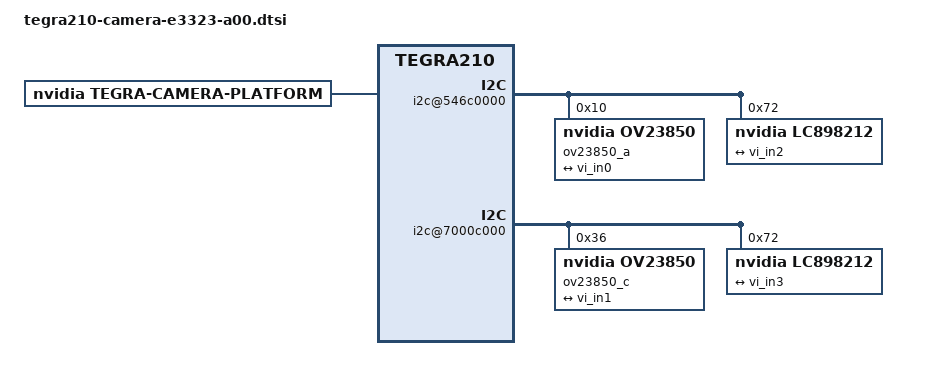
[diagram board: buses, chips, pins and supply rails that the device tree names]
/*
 * Copyright (c) 2015-2016, NVIDIA CORPORATION.  All rights reserved.
 *
 * This program is free software; you can redistribute it and/or modify
 * it under the terms of the GNU General Public License as published by
 * the Free Software Foundation; either version 2 of the License, or
 * (at your option) any later version.
 *
 * This program is distributed in the hope that it will be useful, but WITHOUT
 * ANY WARRANTY; without even the implied warranty of MERCHANTABILITY or
 * FITNESS FOR A PARTICULAR PURPOSE.  See the GNU General Public License for
 * more details.
 *
 * You should have received a copy of the GNU General Public License
 * along with this program.  If not, see <http://www.gnu.org/licenses/>.
 */

#include <dt-bindings/media/camera.h>
#include <dt-bindings/platform/t210/t210.h>

/ {
	host1x {
		vi {
			num-channels = <4>;
			ports {
				#address-cells = <1>;
				#size-cells = <0>;
				port@0 {
					reg = <0>;
					vi_in0: endpoint {
						remote-endpoint = <&ov23850_out0>;
					};
				};
				port@1 {
					reg = <1>;
					vi_in1: endpoint {
						remote-endpoint = <&ov23850_out1>;
					};
				};
				port@2 {
					reg = <2>;
					vi_in2: endpoint {
						remote-endpoint = <&lc898212_out0>;
					};
				};
				port@3 {
					reg = <3>;
					vi_in3: endpoint {
						remote-endpoint = <&lc898212_out1>;
					};
				};
			};
		};

		i2c@546c0000 {
			ov23850_a@10 {
				compatible = "nvidia,ov23850";

				reg = <0x10>;
				/* Physical dimensions of sensor */
				physical_w = "7.3998";
				physical_h = "5.5998";

				/* Define any required hw resources needed by driver */
				/* ie. clocks, io pins, power sources */
				avdd-reg = "vana";
				dvdd-reg = "vdig";
				iovdd-reg = "vif";
				vcmvdd-reg = "vvcm";
				devnode = "video0";

				/**
				* A modeX node is required to support v4l2 driver
				* implementation with NVIDIA camera software stack
				*
				* mclk_khz = "";
				* Standard MIPI driving clock, typically 24MHz
				*
				* num_lanes = "";
				* Number of lane channels sensor is programmed to output
				*
				* tegra_sinterface = "";
				* The base tegra serial interface lanes are connected to
				*
				* discontinuous_clk = "";
				* The sensor is programmed to use a discontinuous clock on MIPI lanes
				*
				* dpcm_enable = "true";
				* The sensor is programmed to use a DPCM modes
				*
				* cil_settletime = "";
				* MIPI lane settle time value.
				* A "0" value attempts to autocalibrate based on mclk_multiplier
				*
				*
				*
				*
				* active_w = "";
				* Pixel active region width
				*
				* active_h = "";
				* Pixel active region height
				*
				* pixel_t = "";
				* The sensor readout pixel pattern
				*
				* readout_orientation = "0";
				* Based on camera module orientation.
				* Only change readout_orientation if you specifically
				* Program a different readout order for this mode
				*
				* line_length = "";
				* Pixel line length (width) for sensor mode.
				* This is used to calibrate features in our camera stack.
				*
				* mclk_multiplier = "";
				* Multiplier to MCLK to help time hardware capture sequence
				* TODO: Assign to PLL_Multiplier as well until fixed in core
				*
				* pix_clk_hz = "";
				* Sensor pixel clock used for calculations like exposure and framerate
				*
				*
				*
				*
				* inherent_gain = "";
				* Gain obtained inherently from mode (ie. pixel binning)
				*
				* min_gain_val = ""; (floor to 6 decimal places)
				* max_gain_val = ""; (floor to 6 decimal places)
				* Gain limits for mode
				*
				* min_exp_time = ""; (ceil to integer)
				* max_exp_time = ""; (ceil to integer)
				* Exposure Time limits for mode (us)
				*
				*
				* min_hdr_ratio = "";
				* max_hdr_ratio = "";
				* HDR Ratio limits for mode
				*
				* min_framerate = "";
				* max_framerate = "";
				* Framerate limits for mode (fps)
				*
				*/

				mode0 { // OV23850_MODE_5632X4224
					mclk_khz = "24000";
					num_lanes = "4";
					tegra_sinterface = "serial_a";
					discontinuous_clk = "no";
					dpcm_enable = "false";
					cil_settletime = "0";

					active_w = "5632";
					active_h = "4224";
					pixel_t = "bayer_bggr";
					readout_orientation = "270";
					line_length = "7200";
					inherent_gain = "1";
					mclk_multiplier = "31.25";
					pix_clk_hz = "750000000";

					min_gain_val = "1.0";
					max_gain_val = "15.5";
					min_hdr_ratio = "1";
					max_hdr_ratio = "64";
					min_framerate = "3.179011";
					max_framerate = "21";
					min_exp_time = "20";
					max_exp_time = "314256";
				};

				mode1 { // OV23850_MODE_5632X3168
					mclk_khz = "24000";
					num_lanes = "4";
					tegra_sinterface = "serial_a";
					discontinuous_clk = "no";
					dpcm_enable = "false";
					cil_settletime = "0";

					active_w = "5632";
					active_h = "3168";
					pixel_t = "bayer_bggr";
					readout_orientation = "270";
					line_length = "7108";
					inherent_gain = "1";
					mclk_multiplier = "31.25";
					pix_clk_hz = "750000000";

					min_gain_val = "1.0";
					max_gain_val = "15.5";
					min_hdr_ratio = "1";
					max_hdr_ratio = "64";
					min_framerate = "3.220157";
					max_framerate = "30";
					min_exp_time = "19";
					max_exp_time = "310241";
				};
				ports {
					#address-cells = <1>;
					#size-cells = <0>;

					port@0 {
						reg = <0>;
						ov23850_out0: endpoint {
							csi-port = <0>;
							bus-width = <4>;
							remote-endpoint = <&vi_in0>;
						};
					};
				};
			};
			lc898212@6_0072 {
				compatible = "nvidia,lc898212";
				reg = <0x72>;

				/* physical camera layer interface tags */
				devnode = "video2";

				/**
				* Type specifies the control features supported by
				* the focuser driver.
				* default type means only position control setting
				* supported by the focuser
				*/
				type = "default";

				ports {
					#address-cells = <1>;
					#size-cells = <0>;
					port@0 {
						reg = <0>;
						lc898212_out0: endpoint {
							remote-endpoint = <&vi_in2>;
						};
					};
				};
			};
		};
	};

	i2c@7000c000 {
		ov23850_c@36 {
			compatible = "nvidia,ov23850";

			reg = <0x36>;
			/* Physical dimensions of sensor */
			physical_w = "7.3998";
			physical_h = "5.5998";

			/* Define any required hw resources needed by driver */
			/* ie. clocks, io pins, power sources */
			avdd-reg = "vana";
			dvdd-reg = "vdig";
			iovdd-reg = "vif";
			vcmvdd-reg = "vvcm";
			devnode = "video1";

			mode0 { // OV23850_MODE_5632X4224
				mclk_khz = "24000";
				num_lanes = "4";
				tegra_sinterface = "serial_c";
				discontinuous_clk = "no";
				dpcm_enable = "false";
				cil_settletime = "0";

				active_w = "5632";
				active_h = "4224";
				pixel_t = "bayer_bggr";
				readout_orientation = "270";
				line_length = "7200";
				inherent_gain = "1";
				mclk_multiplier = "31.25";
				pix_clk_hz = "750000000";

				min_gain_val = "1.0";
				max_gain_val = "15.5";
				min_hdr_ratio = "1";
				max_hdr_ratio = "64";
				min_framerate = "3.179011";
				max_framerate = "21";
				min_exp_time = "20";
				max_exp_time = "314256";
			};

			mode1 { // OV23850_MODE_5632X3168
				mclk_khz = "24000";
				num_lanes = "4";
				tegra_sinterface = "serial_c";
				discontinuous_clk = "no";
				dpcm_enable = "false";
				cil_settletime = "0";

				active_w = "5632";
				active_h = "3168";
				pixel_t = "bayer_bggr";
				readout_orientation = "270";
				line_length = "7108";
				inherent_gain = "1";
				mclk_multiplier = "31.25";
				pix_clk_hz = "750000000";

				min_gain_val = "1.0";
				max_gain_val = "15.5";
				min_hdr_ratio = "1";
				max_hdr_ratio = "64";
				min_framerate = "3.220157";
				max_framerate = "30";
				min_exp_time = "19";
				max_exp_time = "310467";
			};
			ports {
				#address-cells = <1>;
				#size-cells = <0>;

				port@0 {
					reg = <0>;
					ov23850_out1: endpoint {
						csi-port = <2>;
						bus-width = <4>;
						remote-endpoint = <&vi_in1>;
					};
				};
			};
		};

		lc898212@0_0072 {
			compatible = "nvidia,lc898212";
			reg = <0x72>;

			/* physical camera layer interface tags */
			devnode = "video3";
			type = "default";

			ports {
				#address-cells = <1>;
				#size-cells = <0>;
				port@0 {
					reg = <0>;
					lc898212_out1: endpoint {
						remote-endpoint = <&vi_in3>;
					};
				};
			};
		};
	};

	tegra-camera-platform {
		compatible = "nvidia, tegra-camera-platform";
		/**
		* Physical settings to calculate max ISO BW
		*
		* num_csi_lanes = <>;
		* Total number of CSI lanes when all cameras are active
		*
		* max_lane_speed = <>;
		* Max lane speed in Kbit/s
		*
		* min_bits_per_pixel = <>;
		* Min bits per pixel
		*
		* vi_peak_byte_per_pixel = <>;
		* Max byte per pixel for the VI ISO case
		*
		* vi_bw_margin_pct = <>;
		* Vi bandwidth margin in percentage
		*
		* max_pixel_rate = <>;
		* Max pixel rate in Kpixel/s for the ISP ISO case
		*
		* isp_peak_byte_per_pixel = <>;
		* Max byte per pixel for the ISP ISO case
		*
		* isp_bw_margin_pct = <>;
		* Isp bandwidth margin in percentage
		*/
		num_csi_lanes = <8>;
		max_lane_speed = <1500000>;
		min_bits_per_pixel = <10>;
		vi_peak_byte_per_pixel = <2>;
		vi_bw_margin_pct = <25>;
		max_pixel_rate = <750000>;
		isp_peak_byte_per_pixel = <3>;
		isp_bw_margin_pct = <25>;

		/**
		* The general guideline for naming badge_info contains 3 parts, and is as follows,
		* The first part is the camera_board_id for the module; if the module is in a FFD
		* platform, then use the platform name for this part.
		* The second part contains the position of the module, ex. “rear” or “front”.
		* The third part contains the last 6 characters of a part number which is found
		* in the module's specsheet from the vender.
		*/
		modules {
			module0 {
				badge = "e3323_bottom_CH06P1";
				position = "bottom";
				orientation = "3";
				drivernode0 {
					/* Declare PCL support driver (classically known as guid)  */
					pcl_id = "v4l2_soc_sensor";
					/* Declare the device-tree hierarchy to driver instance */
					proc-device-tree = "/proc/device-tree/host1x/i2c@546c0000/ov23850_a@10";
				};
				drivernode1 {
					/* Declare PCL support driver (classically known as guid)  */
					pcl_id = "v4l2_focuser";
					/* Declare the device-tree hierarchy to driver instance */
					proc-device-tree = "/proc/device-tree/host1x/i2c@546c0000/lc898212@6_0072";
				};
			};
			module1 {
				badge = "e3323_top_CH06P1";
				position = "top";
				orientation = "3";
				drivernode0 {
					/* Declare PCL support driver (classically known as guid)  */
					pcl_id = "v4l2_soc_sensor";
					/* Declare the device-tree hierarchy to driver instance */
					proc-device-tree = "/proc/device-tree/i2c@7000c000/ov23850_c@36";
				};
				drivernode1 {
					/* Declare PCL support driver (classically known as guid)  */
					pcl_id = "v4l2_focuser";
					/* Declare the device-tree hierarchy to driver instance */
					proc-device-tree = "/proc/device-tree/i2c@7000c000/lc898212@0_0072";
				};
			};
		};
	};
};
